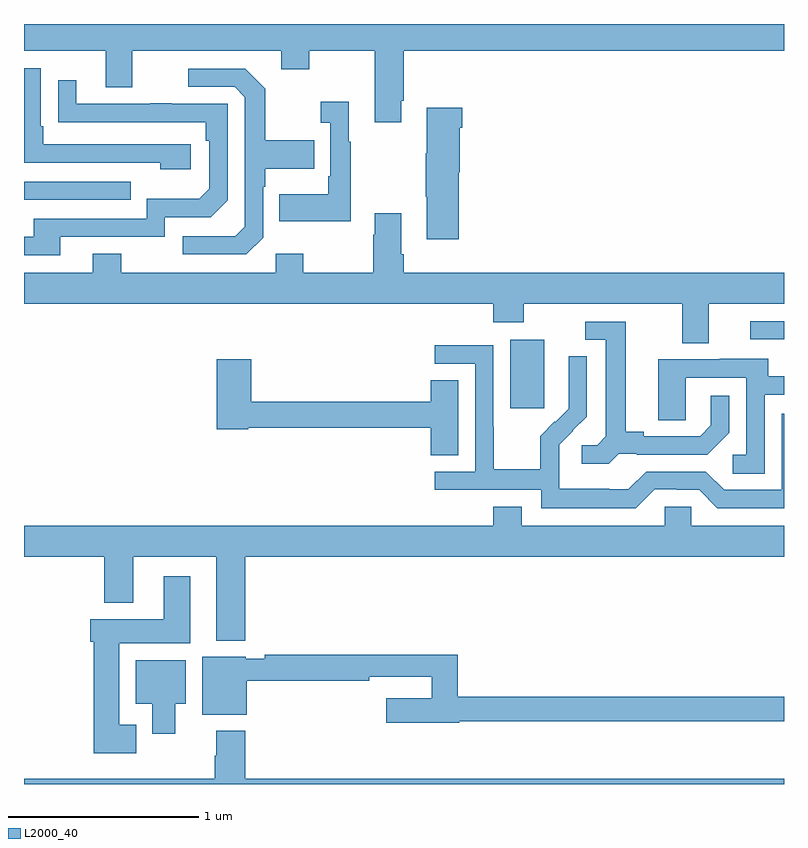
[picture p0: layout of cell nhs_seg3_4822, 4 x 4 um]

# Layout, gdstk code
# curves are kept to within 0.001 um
import gdstk
lib = gdstk.Library(unit=1e-6, precision=1e-09)
def R(c, l, rs):  # rectangles x0, y0, x1, y1
    for r in rs: c.add(gdstk.rectangle(r[:2], r[2:], *l))
def P(c, l, *ps):  # polygons
    for p in ps: c.add(gdstk.Polygon(p, *l))
L2000_40 = (2000, 40)

nhs_seg3_4822 = lib.new_cell('nhs_seg3_4822')
R(nhs_seg3_4822, L2000_40, [(373.559,688.377,373.738,688.738), (374.823,688.74,375,688.836), (371,689.475,371.561,689.571)])
P(nhs_seg3_4822, L2000_40, [(372.985,689.995),(372.998,689.995),(372.998,690.26),(375,690.26),(375,690.4),(371,690.4),(371,690.26),(371.429,690.26),(371.429,690.066),(371.569,690.066),(371.569,690.26),(372.353,690.26),(372.353,690.161),(372.501,690.161),(372.501,690.26),(372.845,690.26),(372.845,689.883),(372.985,689.883)],
  [(371.878,689.766),(371.101,689.766),(371.101,689.863),(371.088,689.863),(371.088,690.168),(371,690.168),(371,689.67),(371.717,689.67),(371.717,689.636),(371.878,689.636)],
  [(372.258,689.274),(372.258,689.543),(372.271,689.543),(372.271,689.639),(372.527,689.639),(372.527,689.787),(372.271,689.787),(372.271,690.059),(372.165,690.165),(371.865,690.165),(371.865,690.069),(372.108,690.069),(372.162,690.015),(372.162,689.334),(372.111,689.283),(371.835,689.283),(371.835,689.187),(372.171,689.187)],
  [(371.191,689.28),(371.742,689.28),(371.742,689.382),(371.982,689.382),(372.072,689.472),(372.072,689.979),(371.777,689.979),(371.777,689.984),(371.665,689.984),(371.665,689.979),(371.275,689.979),(371.275,690.103),(371.179,690.103),(371.179,689.884),(371.956,689.883),(371.956,689.786),(371.976,689.786),(371.976,689.532),(371.923,689.479),(371.646,689.479),(371.646,689.376),(371.051,689.376),(371.051,689.28),(371,689.28),(371,689.184),(371.191,689.184)],
  [(372.721,689.779),(372.709,689.779),(372.709,689.992),(372.561,689.992),(372.561,689.879),(372.612,689.879),(372.612,689.599),(372.6,689.599),(372.6,689.503),(372.343,689.503),(372.343,689.363),(372.721,689.363)],
  [(373.289,689.619),(373.294,689.619),(373.294,689.855),(373.307,689.855),(373.307,689.959),(373.121,689.959),(373.121,689.719),(373.114,689.719),(373.114,689.491),(373.121,689.491),(373.121,689.268),(373.289,689.268)],
  [(374.605,688.928),(375,688.928),(375,689.092),(372.998,689.092),(372.998,689.188),(372.985,689.188),(372.985,689.404),(372.845,689.404),(372.845,689.291),(372.838,689.291),(372.838,689.092),(372.471,689.092),(372.471,689.191),(372.324,689.191),(372.324,689.092),(371.511,689.092),(371.511,689.191),(371.363,689.191),(371.363,689.092),(371,689.092),(371,688.928),(373.469,688.928),(373.469,688.829),(373.629,688.829),(373.629,688.928),(374.465,688.928),(374.465,688.72),(374.605,688.72)],
  [(374.13,688.137),(374.224,688.137),(374.224,688.134),(374.596,688.134),(374.712,688.25),(374.712,688.444),(374.615,688.444),(374.615,688.287),(374.558,688.23),(374.263,688.23),(374.263,688.253),(374.167,688.253),(374.167,688.833),(373.953,688.833),(373.953,688.737),(374.063,688.737),(374.063,688.229),(374.016,688.182),(373.935,688.182),(373.935,688.085),(374.078,688.085)],
  [(374.319,687.951),(374.435,687.951),(374.435,687.948),(374.553,687.948),(374.649,687.852),(375,687.852),(375,688.35),(374.988,688.35),(374.988,687.948),(374.685,687.948),(374.589,688.044),(374.274,688.044),(374.181,687.951),(374.081,687.951),(374.081,687.955),(373.818,687.955),(373.818,688.089),(373.816,688.089),(373.816,688.186),(373.962,688.334),(373.962,688.652),(373.866,688.652),(373.866,688.498),(373.868,688.498),(373.868,688.376),(373.797,688.305),(373.794,688.308),(373.717,688.231),(373.717,688.057),(373.473,688.057),(373.473,688.28),(373.47,688.28),(373.47,688.71),(373.161,688.71),(373.161,688.611),(373.374,688.611),(373.374,688.044),(373.161,688.044),(373.161,687.948),(373.722,687.948),(373.722,687.851),(374.219,687.851)],
  [(374.898,688.449),(375,688.449),(375,688.545),(374.917,688.545),(374.917,688.639),(374.663,688.639),(374.663,688.635),(374.339,688.635),(374.339,688.315),(374.484,688.315),(374.484,688.539),(374.802,688.539),(374.802,688.134),(374.73,688.134),(374.73,688.033),(374.898,688.033)],
  [(373.285,688.526),(373.142,688.526),(373.142,688.412),(372.197,688.412),(372.197,688.636),(372.014,688.636),(372.014,688.268),(372.18,688.268),(372.18,688.276),(373.142,688.276),(373.142,688.129),(373.285,688.129)],
  [(372.164,687.596),(375,687.596),(375,687.76),(374.511,687.76),(374.511,687.858),(374.373,687.858),(374.373,687.76),(373.621,687.76),(373.621,687.859),(373.469,687.859),(373.469,687.76),(371,687.76),(371,687.596),(371.423,687.596),(371.423,687.353),(371.575,687.353),(371.575,687.596),(372.011,687.596),(372.011,687.155),(372.164,687.155)],
  [(371.59,686.713),(371.5,686.713),(371.5,687.14),(371.875,687.14),(371.875,687.493),(371.735,687.493),(371.735,687.268),(371.348,687.268),(371.348,687.15),(371.366,687.15),(371.366,686.561),(371.59,686.561)],
  [(373.29,686.73),(375,686.73),(375,686.858),(373.283,686.858),(373.283,687.08),(372.268,687.08),(372.268,687.06),(372.168,687.06),(372.168,687.07),(371.939,687.07),(371.939,686.765),(372.172,686.765),(372.172,686.944),(372.818,686.944),(372.818,686.964),(373.147,686.964),(373.147,686.851),(372.906,686.851),(372.906,686.722),(373.29,686.722)],
  [(371.797,686.822),(371.851,686.822),(371.851,687.052),(371.588,687.052),(371.588,686.822),(371.675,686.822),(371.675,686.664),(371.797,686.664)],
  [(375,686.428),(372.164,686.428),(372.164,686.68),(372.011,686.68),(372.011,686.549),(372.004,686.549),(372.004,686.428),(371,686.428),(371,686.4),(375,686.4)])

lib.write_gds('nhs_seg3_4822.gds')
